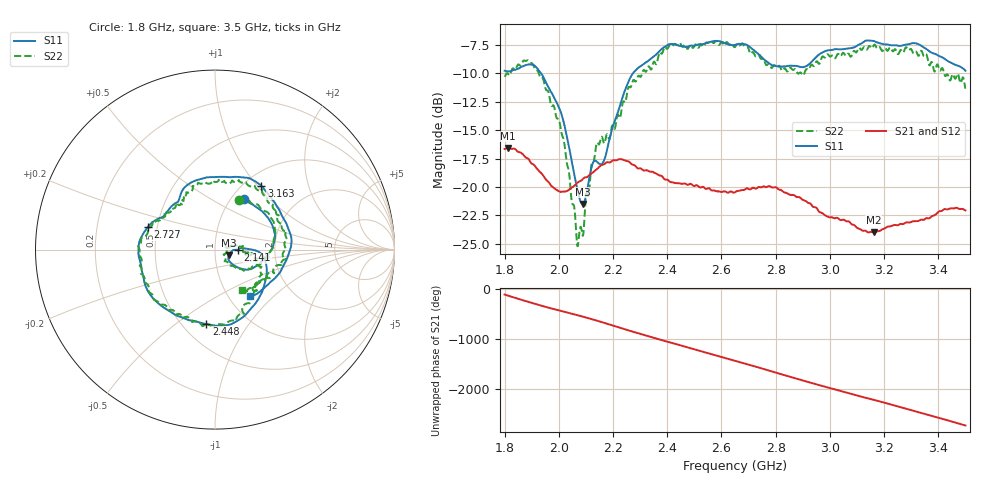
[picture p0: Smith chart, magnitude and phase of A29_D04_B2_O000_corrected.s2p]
! Created with skrf 1.9.0 (http://scikit-rf.org).
# Hz S RI R 50.0
!freq ReS11 ImS11 ReS21 ImS21 ReS12 ImS12 ReS22 ImS22
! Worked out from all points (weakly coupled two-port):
!   1601 points, 1.8 GHz to 3.5 GHz, reference 50 ohm
!   highest |S21| = -16.57 dB at 1.812 GHz (marker M1); lowest = -24.0 dB at 3.162 GHz (marker M2)
!   lowest |S11| = -21.5 dB at 2.089 GHz (marker M3), VSWR 1.18, Z = 58.4 - j3.54 ohm
!   |S11| at or under -10 dB: 1.935 GHz to 2.273 GHz (338.1 MHz wide, 16.1 % of centre)
!   |S22| runs from -25.2 to -7.1 dB; largest |S21 - S12| = 0.0023
!   S11 on the Smith chart (normalised r, x): 1.8 GHz: 1.14, +0.72; 2.141 GHz: 1.30, -0.01; 2.448 GHz: 0.65, -0.65; 2.727 GHz: 0.44, +0.13; 3.163 GHz: 1.19, +1.05; 3.5 GHz: 1.25, -0.73
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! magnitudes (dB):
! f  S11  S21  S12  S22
! 1.8 GHz  -9.8  -16.7  -16.7  -10.3
! 1.812 GHz  -9.8  -16.6  -16.6  -10.0
! 1.882 GHz  -9.2  -17.4  -17.4  -8.9
! 1.941 GHz  -10.2  -18.9  -18.9  -10.5
! 2.01 GHz  -13.6  -20.4  -20.4  -15.3
! 2.067 GHz  -20.0  -19.7  -19.7  -24.9
! 2.084 GHz  -21.4  -19.4  -19.4  -23.7
! 2.089 GHz  -21.5  -19.3  -19.3  -24.3
! 2.141 GHz  -17.8  -18.4  -18.4  -16.1
! 2.168 GHz  -17.6  -18.0  -18.0  -16.2
! 2.266 GHz  -10.3  -17.9  -17.9  -11.2
! 2.367 GHz  -8.1  -18.9  -18.9  -8.5
! 2.448 GHz  -7.6  -19.7  -19.7  -7.3
! 2.65 GHz  -7.5  -20.5  -20.4  -7.7
! 2.727 GHz  -8.1  -20.1  -20.1  -8.5
! 2.799 GHz  -9.3  -20.0  -20.0  -9.3
! 2.934 GHz  -9.0  -21.6  -21.6  -9.2
! 3.162 GHz  -7.1  -24.0  -24.0  -7.5
! 3.163 GHz  -7.1  -24.0  -24.0  -7.5
! 3.217 GHz  -7.5  -23.5  -23.4  -7.9
! 3.342 GHz  -7.6  -22.9  -22.9  -8.2
! 3.5 GHz  -9.8  -22.1  -22.0  -11.3
